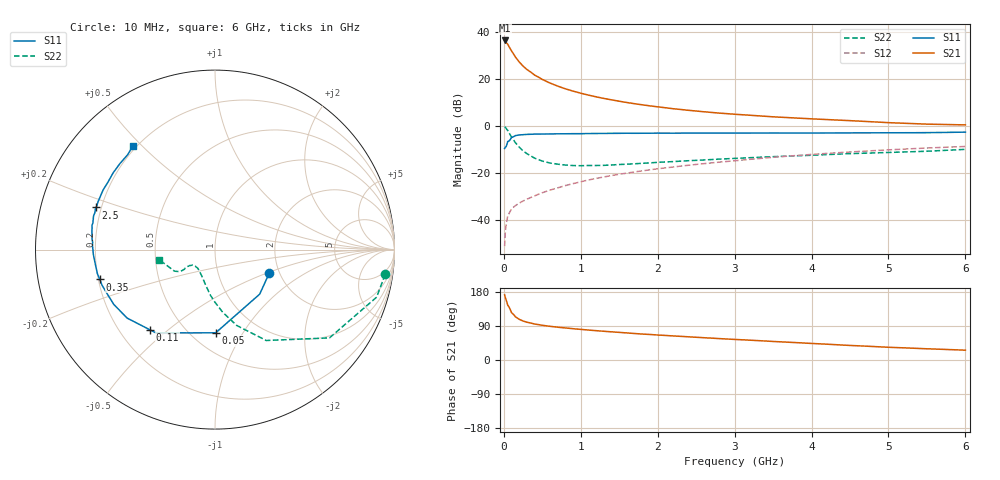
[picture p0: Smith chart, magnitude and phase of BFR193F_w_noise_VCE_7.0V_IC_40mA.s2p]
! Infineon Technologies  Discrete & RF Semiconductors
! BFR193F
! VCE =  7.0 V,  IC =  40 mA
! Common Emitter S-Parameters:  Jan 2017
# GHz  S  MA  R  50
!  f  S11  S21  S12  S22
! GHz  MAG  ANG  MAG  ANG  MAG  ANG  MAG  ANG
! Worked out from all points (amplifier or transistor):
!   77 points, 10 MHz to 6 GHz, reference 50 ohm
!   highest |S21| = 36.5 dB at 10 MHz (marker M1)
!   |S21| within 3 dB of that: start of sweep to 74.2 MHz
!   unconditionally stable (mu >= 1): 952.7 MHz to 2.615 GHz
!   at 130 MHz: K = 0.42, MSG = 32.6 dB, |S12| = -34.6 dB
!   at 2.2 GHz: K = 1.02, MAG = 11.7 dB, |S12| = -17.5 dB
!   at 6 GHz: K = 0.86, MSG = 4.6 dB, |S12| = -8.8 dB
!   lowest NFmin = 1.34 dB at 450 MHz
!   S11 on the Smith chart (normalised r, x): 10 MHz: 1.78, -0.51; 50 MHz: 0.65, -0.77; 110 MHz: 0.33, -0.44; 350 MHz: 0.21, -0.12; 2.5 GHz: 0.18, +0.17; 6 GHz: 0.19, +0.47
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0.01  0.3296 -22.9  66.98 172.0  0.0027 88.5  0.9578 -8.3
0.02  0.3516 -44.9  64.68 164.2  0.0057 78.4  0.9388 -16.4
0.05  0.4636 -89.5  55.78 145.1  0.0118 65.7  0.8058 -37.6
0.1  0.5689 -125.3  40 124.8  0.0168 53.9  0.5814 -60.6
0.11  0.5751 -128.9  37.85 123.1  0.0174 52.8  0.5508 -62.7
0.15  0.6209 -142.1  29.69 114.1  0.0198 49.1  0.4388 -74.1
0.2  0.6414 -151.6  23.27 107.4  0.0225 52.0  0.3524 -82.9
0.25  0.6502 -158.2  18.99 102.9  0.0249 53.0  0.2921 -90.2
0.3  0.6598 -162.5  16.06 99.7  0.0272 54.7  0.2555 -95.7
0.35  0.6634 -165.5  14.12 97.6  0.0296 56.9  0.2295 -99.7
0.4  0.6688 -168.5  12.2 94.9  0.032 58.7  0.205 -104.7
0.5  0.671 -172.3  9.841 91.6  0.0374 61.2  0.1774 -111.8
0.6  0.6744 -175.3  8.249 88.9  0.0426 64.8  0.1612 -118.1
0.8  0.68 -179.8  6.209 84.6  0.0532 68.0  0.1459 -127.9
1.1  0.6871 175.2  4.553 79.0  0.0701 70.5  0.1429 -136.7
1.5  0.6952 170.1  3.371 72.9  0.0928 72.2  0.15 -144.0
2.1  0.7011 163.9  2.445 64.8  0.1271 72.5  0.1699 -147.9
2.5  0.7028 160.5  2.082 60.0  0.1504 72.2  0.184 -148.1
3.1  0.7042 155.4  1.734 53.3  0.1866 71.3  0.206 -147.4
4.1  0.7058 146.6  1.393 42.7  0.2524 67.5  0.2402 -149.5
5.1  0.7147 136.8  1.158 32.8  0.3139 62.1  0.2743 -159.3
6  0.7372 128.3  1.053 25.9  0.364 57.0  0.3156 -169.3
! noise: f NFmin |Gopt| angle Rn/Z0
0.45  1.34  0.43  179  0.06
0.9  1.42  0.44  180  0.07
1.9  1.98  0.59  -165  0.08
2.4  2.27  0.61  -157  0.13
